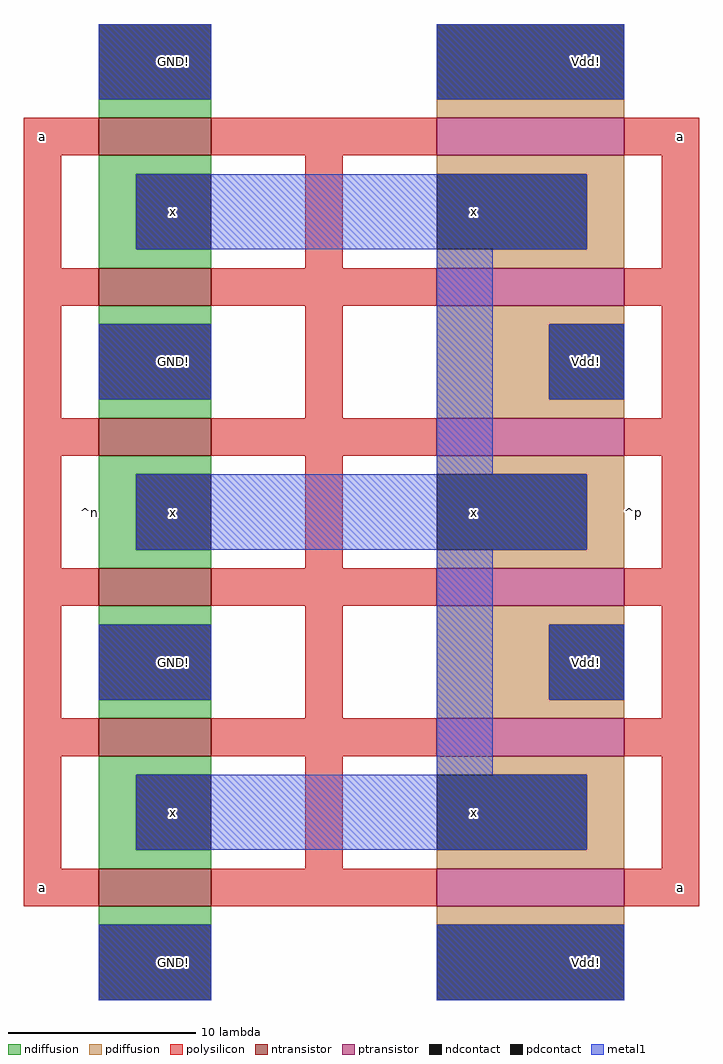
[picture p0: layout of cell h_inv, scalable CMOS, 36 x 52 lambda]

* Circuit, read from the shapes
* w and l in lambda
.subckt h_inv GND! Vdd! a x
M1 x a GND! VSUBS nfet w=6 l=2 m=6
M2 x a Vdd! NWELL pfet w=10 l=2 m=6
.ends

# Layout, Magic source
magic
tech scmos
<< ndiffusion >>
rect 51 44 57 45
rect 51 41 57 42
rect 51 37 53 41
rect 51 36 57 37
rect 51 33 57 34
rect 51 28 57 29
rect 51 25 57 26
rect 51 21 53 25
rect 51 20 57 21
rect 51 17 57 18
rect 51 12 57 13
rect 51 9 57 10
rect 51 5 53 9
rect 51 4 57 5
rect 51 1 57 2
<< pdiffusion >>
rect 69 44 79 45
rect 69 41 79 42
rect 77 37 79 41
rect 69 36 79 37
rect 69 33 79 34
rect 69 29 75 33
rect 69 28 79 29
rect 69 25 79 26
rect 77 21 79 25
rect 69 20 79 21
rect 69 17 79 18
rect 69 13 75 17
rect 69 12 79 13
rect 69 9 79 10
rect 77 5 79 9
rect 69 4 79 5
rect 69 1 79 2
<< ntransistor >>
rect 51 42 57 44
rect 51 34 57 36
rect 51 26 57 28
rect 51 18 57 20
rect 51 10 57 12
rect 51 2 57 4
<< ptransistor >>
rect 69 42 79 44
rect 69 34 79 36
rect 69 26 79 28
rect 69 18 79 20
rect 69 10 79 12
rect 69 2 79 4
<< polysilicon >>
rect 47 42 51 44
rect 57 42 69 44
rect 79 42 83 44
rect 47 36 49 42
rect 62 36 64 42
rect 81 36 83 42
rect 47 34 51 36
rect 57 34 69 36
rect 79 34 83 36
rect 47 28 49 34
rect 62 28 64 34
rect 81 28 83 34
rect 47 26 51 28
rect 57 26 69 28
rect 79 26 83 28
rect 47 20 49 26
rect 62 20 64 26
rect 81 20 83 26
rect 47 18 51 20
rect 57 18 69 20
rect 79 18 83 20
rect 47 12 49 18
rect 62 12 64 18
rect 81 12 83 18
rect 47 10 51 12
rect 57 10 69 12
rect 79 10 83 12
rect 47 4 49 10
rect 62 4 64 10
rect 81 4 83 10
rect 47 2 51 4
rect 57 2 69 4
rect 79 2 83 4
<< ndcontact >>
rect 51 45 57 49
rect 53 37 57 41
rect 51 29 57 33
rect 53 21 57 25
rect 51 13 57 17
rect 53 5 57 9
rect 51 -3 57 1
<< pdcontact >>
rect 69 45 79 49
rect 69 37 77 41
rect 75 29 79 33
rect 69 21 77 25
rect 75 13 79 17
rect 69 5 77 9
rect 69 -3 79 1
<< metal1 >>
rect 51 45 57 49
rect 69 45 79 49
rect 53 37 77 41
rect 51 29 57 33
rect 69 25 72 37
rect 75 29 79 33
rect 53 21 77 25
rect 51 13 57 17
rect 69 9 72 21
rect 75 13 79 17
rect 53 5 77 9
rect 51 -3 57 1
rect 69 -3 79 1
<< labels >>
rlabel space 47 -4 54 50 7 ^n
rlabel space 76 -4 83 50 3 ^p
rlabel polysilicon 48 3 48 3 3 a
rlabel polysilicon 48 43 48 43 3 a
rlabel polysilicon 82 3 82 3 7 a
rlabel polysilicon 82 43 82 43 7 a
rlabel ndcontact 55 15 55 15 5 GND!
rlabel ndcontact 55 -1 55 -1 1 GND!
rlabel ndcontact 55 23 55 23 1 x
rlabel ndcontact 55 7 55 7 1 x
rlabel ndcontact 55 31 55 31 5 GND!
rlabel ndcontact 55 47 55 47 5 GND!
rlabel ndcontact 55 39 55 39 1 x
rlabel pdcontact 71 23 71 23 1 x
rlabel pdcontact 71 39 71 39 1 x
rlabel pdcontact 71 7 71 7 1 x
rlabel pdcontact 77 15 77 15 5 Vdd!
rlabel pdcontact 77 31 77 31 5 Vdd!
rlabel pdcontact 77 -1 77 -1 1 Vdd!
rlabel pdcontact 77 47 77 47 5 Vdd!
<< end >>
